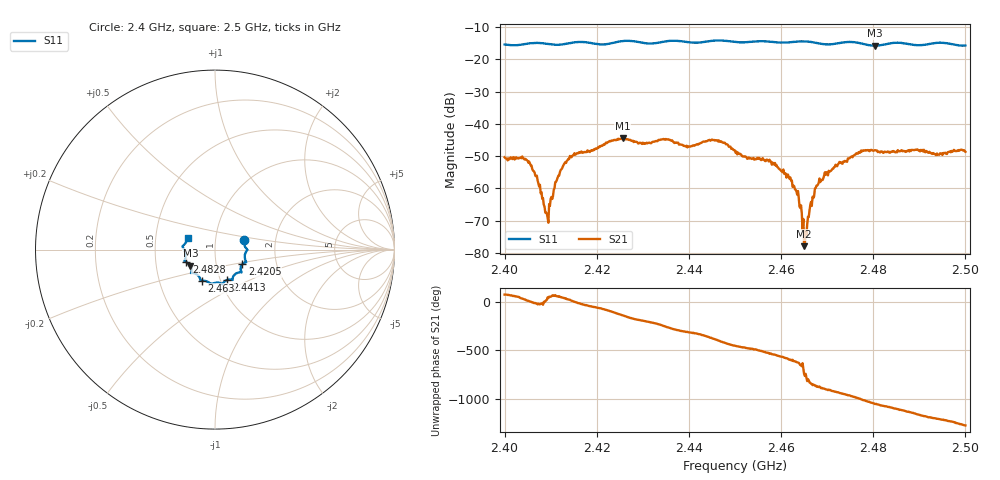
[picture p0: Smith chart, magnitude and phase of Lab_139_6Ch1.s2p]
# Hz S RI R 50
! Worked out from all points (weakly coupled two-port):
!   601 points, 2.4 GHz to 2.5 GHz, reference 50 ohm
!   highest |S21| = -44.47 dB at 2.4257 GHz (marker M1); lowest = -78.0 dB at 2.465 GHz (marker M2)
!   lowest |S11| = -15.7 dB at 2.4803 GHz (marker M3), VSWR 1.39, Z = 37.4 - j6.81 ohm
!   |S11| at or under -10 dB: start of sweep to end of sweep
!   S12 and S22 are empty: the file has one direction only
!   S11 on the Smith chart (normalised r, x): 2.4 GHz: 1.38, +0.15; 2.4205 GHz: 1.34, -0.22; 2.4413 GHz: 1.08, -0.38; 2.463 GHz: 0.82, -0.29; 2.4828 GHz: 0.72, -0.10; 2.5 GHz: 0.73, +0.10
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2.4e9  0.1626 0.0523  0.000679 0.00296  0 0  0 0
2.405333e9  0.1776 0.00266  0.00257 0.000392  0 0  0 0
2.409e9  0.1755 -0.00754  0.0004 0.000126  0 0  0 0
2.412667e9  0.166 -0.0446  0.00157 0.00155  0 0  0 0
2.416667e9  0.1737 -0.0695  0.00347 -0.00137  0 0  0 0
2.4205e9  0.1518 -0.0808  0.00205 -0.0038  0 0  0 0
2.425667e9  0.1474 -0.1249  -0.00446 -0.00398  0 0  0 0
2.433333e9  0.1007 -0.1515  -0.00372 0.00419  0 0  0 0
2.441333e9  0.0669 -0.1694  0.00373 0.00279  0 0  0 0
2.445667e9  0.0428 -0.1918  0.00496 -0.0024  0 0  0 0
2.45e9  0.0248 -0.1855  -0.000174 -0.00386  0 0  0 0
2.457333e9  -0.0265 -0.188  -0.00254 -0.000592  0 0  0 0
2.463e9  -0.0722 -0.1737  -0.000246 0.000933  0 0  0 0
2.464e9  -0.0773 -0.1743  8.66e-05 0.000513  0 0  0 0
2.465e9  -0.0796 -0.1736  0.000114 -5.52e-05  0 0  0 0
2.4655e9  -0.0801 -0.1724  8.75e-05 -0.000166  0 0  0 0
2.466667e9  -0.0813 -0.1673  -0.000324 -0.000422  0 0  0 0
2.469833e9  -0.0967 -0.142  -0.00177 0.000153  0 0  0 0
2.480333e9  -0.1373 -0.0886  0.00354 0.00165  0 0  0 0
2.482833e9  -0.1588 -0.07  0.00365 1.56e-05  0 0  0 0
2.483333e9  -0.1627 -0.0682  0.00358 -0.000428  0 0  0 0
2.5e9  -0.1516 0.0643  -0.00351 0.00114  0 0  0 0
